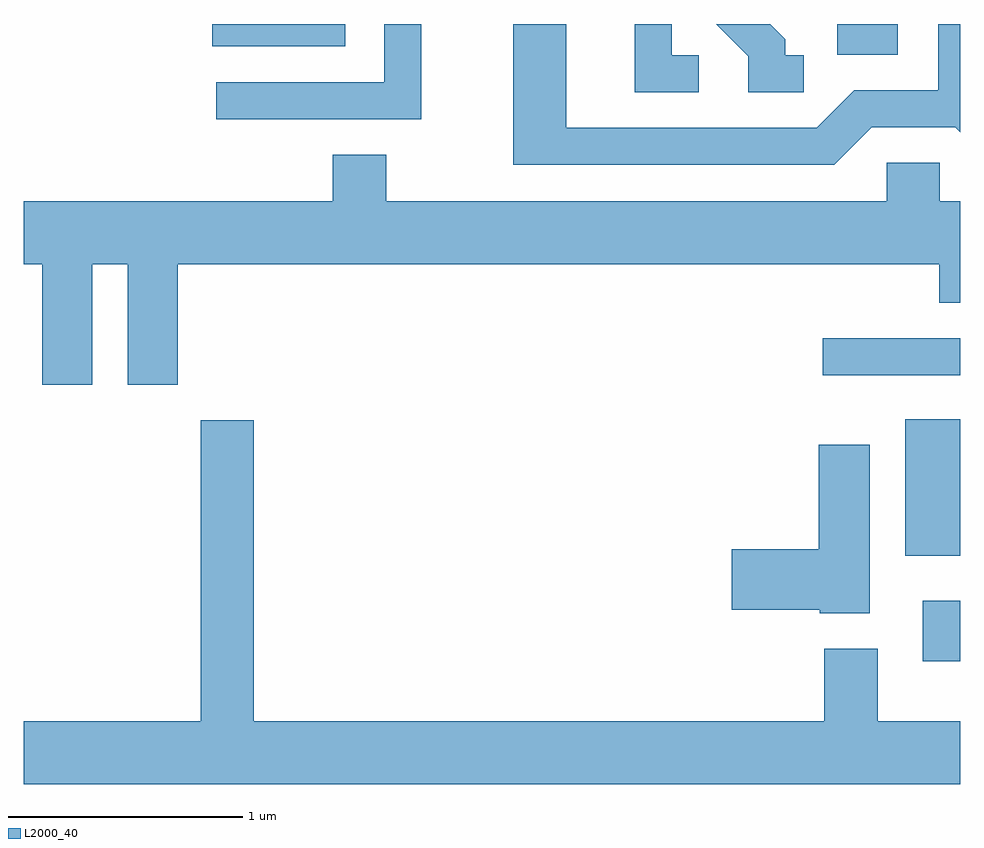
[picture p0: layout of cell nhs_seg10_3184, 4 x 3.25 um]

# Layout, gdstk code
import gdstk
lib = gdstk.Library(unit=1e-6, precision=1e-09)
def R(c, l, rs):  # rectangles x0, y0, x1, y1
    for r in rs: c.add(gdstk.rectangle(r[:2], r[2:], *l))
def P(c, l, *ps):  # polygons
    for p in ps: c.add(gdstk.Polygon(p, *l))
L2000_40 = (2000, 40)

nhs_seg10_3184 = lib.new_cell('nhs_seg10_3184')
R(nhs_seg10_3184, L2000_40, [(283.451,2087.801,283.611,2088.059), (283.376,2088.251,283.611,2088.834), (283.023,2089.021,283.611,2089.179), (283.086,2090.391,283.344,2090.522), (280.416,2090.426,280.984,2090.522)])
P(nhs_seg10_3184, L2000_40, [(282.943,2090.389),(282.864,2090.389),(282.864,2090.457),(282.799,2090.522),(282.568,2090.522),(282.706,2090.384),(282.706,2090.231),(282.943,2090.231)],
  [(283.232,2090.081),(283.589,2090.081),(283.611,2090.059),(283.611,2090.522),(283.516,2090.522),(283.516,2090.239),(283.159,2090.239),(282.999,2090.079),(281.929,2090.079),(281.929,2090.522),(281.701,2090.522),(281.701,2089.921),(283.072,2089.921)],
  [(281.309,2090.522),(281.151,2090.522),(281.151,2090.274),(280.433,2090.274),(280.433,2090.116),(281.309,2090.116)],
  [(282.493,2090.389),(282.379,2090.389),(282.379,2090.522),(282.221,2090.522),(282.221,2090.231),(282.493,2090.231)],
  [(279.904,2089.496),(280.056,2089.496),(280.056,2088.981),(280.269,2088.981),(280.269,2089.496),(283.521,2089.496),(283.521,2089.331),(283.611,2089.331),(283.611,2089.764),(283.524,2089.764),(283.524,2089.929),(283.296,2089.929),(283.296,2089.764),(281.159,2089.764),(281.159,2089.964),(280.931,2089.964),(280.931,2089.764),(279.611,2089.764),(279.611,2089.496),(279.691,2089.496),(279.691,2088.981),(279.904,2088.981)],
  [(283.611,2087.544),(283.259,2087.544),(283.259,2087.854),(283.031,2087.854),(283.031,2087.544),(280.594,2087.544),(280.594,2088.829),(280.366,2088.829),(280.366,2087.544),(279.611,2087.544),(279.611,2087.276),(283.611,2087.276)],
  [(283.224,2088.724),(283.006,2088.724),(283.006,2088.279),(282.636,2088.279),(282.636,2088.021),(283.01,2088.021),(283.01,2088.006),(283.224,2088.006)])

lib.write_gds('nhs_seg10_3184.gds')
